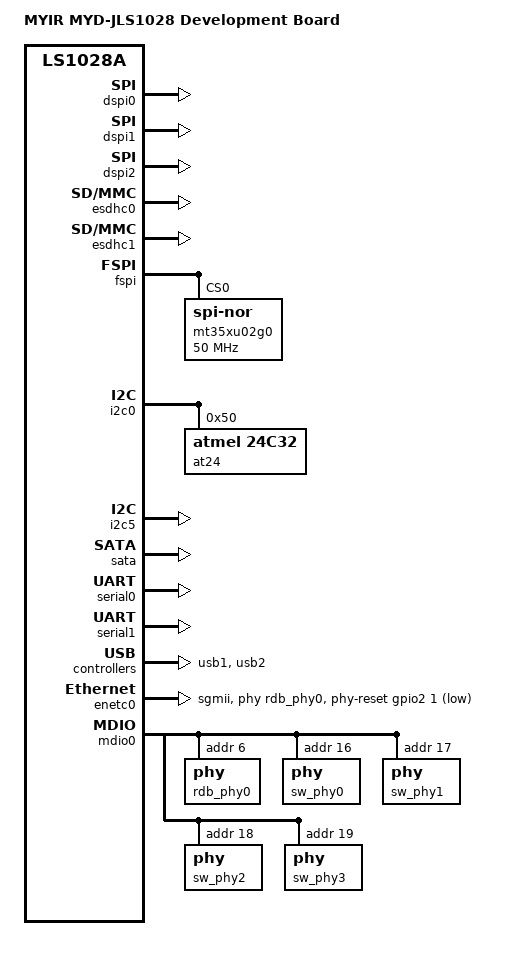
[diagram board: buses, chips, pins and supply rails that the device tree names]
// SPDX-License-Identifier: GPL-2.0+ OR X11
/*
 * NXP ls1028ARDB device tree source
 *
 * Copyright 2019 NXP
 *
 */

/dts-v1/;

#include "fsl-ls1028a.dtsi"
#include <dt-bindings/gpio/gpio.h>
/ {
	model = "MYIR MYD-JLS1028 Development Board";
	compatible = "fsl,ls1028a-rdb", "fsl,ls1028a";
	aliases {
		spi0 = &fspi;
	};
};

&dspi0 {
	status = "okay";
};

&dspi1 {
	status = "okay";
};

&dspi2 {
	status = "okay";
};

&esdhc0 {
	status = "okay";
};

&esdhc1 {
	status = "okay";
	mmc-hs200-1_8v;
};

&fspi {
	status = "okay";

	mt35xu02g0: flash@0 {
		#address-cells = <1>;
		#size-cells = <1>;
		compatible = "jedec,spi-nor";
		spi-max-frequency = <50000000>;
		reg = <0>;
		spi-rx-bus-width = <8>;
		spi-tx-bus-width = <1>;
	};
};

&i2c0 {
	status = "okay";
	u-boot,dm-pre-reloc;
	at24@50 {
           compatible = "atmel,24c32";
           pagesize = <32>;
           reg = <0x50>;
           num-addresses = <8>;
        };

};

&i2c5 {
	status = "okay";
};

&sata {
	status = "okay";
};

&serial0 {
	status = "okay";
};

&serial1 {
	status = "okay";
};

&usb1 {
	status = "okay";
};

&usb2 {
	status = "okay";
};

&enetc0 {
	status = "okay";
	phy-mode = "sgmii";
	phy-handle = <&rdb_phy0>;
	phy-reset-duration=<10>;
	phy-reset-post-delay = <30>;
	phy-reset-gpios = <&gpio2 1 GPIO_ACTIVE_LOW>;
	
};

&ethsw_ports {
	port@0 {
		status = "okay";
		phy-mode = "qsgmii";
		phy-handle = <&sw_phy0>;
	};
	port@1 {
		status = "okay";
		phy-mode = "qsgmii";
		phy-handle = <&sw_phy1>;
	};
	port@2 {
		status = "okay";
		phy-mode = "qsgmii";
		phy-handle = <&sw_phy2>;
	};
	port@3 {
		status = "okay";
		phy-mode = "qsgmii";
		phy-handle = <&sw_phy3>;
	};
};

&mdio0 {
	status = "okay";
	rdb_phy0: phy@6 {
		reg = <6>;
	};

	sw_phy0: phy@10 {
		reg = <0x10>;
	};
	sw_phy1: phy@11 {
		reg = <0x11>;
	};
	sw_phy2: phy@12 {
		reg = <0x12>;
	};
	sw_phy3: phy@13 {
		reg = <0x13>;
	};
};
